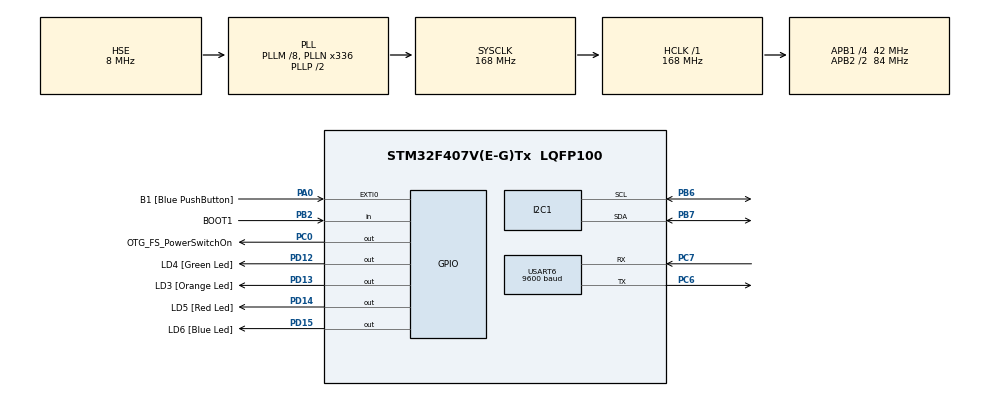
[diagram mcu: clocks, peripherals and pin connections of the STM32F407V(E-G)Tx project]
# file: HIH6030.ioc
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Mcu.Family=STM32F4
Mcu.Name=STM32F407V(E-G)Tx
Mcu.Package=LQFP100
NVIC.PriorityGroup=NVIC_PRIORITYGROUP_0
PA0-WKUP.GPIO_Label=B1 [Blue PushButton]
PA0-WKUP.GPIO_ModeDefaultEXTI=GPIO_MODE_EVT_RISING
PA0-WKUP.GPIO_PuPd=GPIO_NOPULL
PA0-WKUP.Signal=GPXTI0
PA13.GPIO_Label=SWDIO
PA13.Mode=Serial_Wire
PA13.Signal=SYS_JTMS-SWDIO
PA14.GPIO_Label=SWCLK
PA14.Mode=Serial_Wire
PA14.Signal=SYS_JTCK-SWCLK
PB2.GPIO_Label=BOOT1
PB2.GPIO_Mode=GPIO_MODE_INPUT
PB2.GPIO_PuPd=GPIO_NOPULL
PB2.Signal=GPIO_Input
PB6.Mode=I2C
PB6.Signal=I2C1_SCL
PB7.Mode=I2C
PB7.Signal=I2C1_SDA
PC0.GPIO_Label=OTG_FS_PowerSwitchOn
PC0.GPIO_PuPd=GPIO_NOPULL
PC0.GPIO_Speed=GPIO_SPEED_FREQ_LOW
PC0.Signal=GPIO_Output
PC14-OSC32_IN.GPIO_Label=PC14-OSC32_IN
PC14-OSC32_IN.Mode=LSE-External-Oscillator
PC14-OSC32_IN.Signal=RCC_OSC32_IN
PC15-OSC32_OUT.GPIO_Label=PC15-OSC32_OUT
PC15-OSC32_OUT.Mode=LSE-External-Oscillator
PC15-OSC32_OUT.Signal=RCC_OSC32_OUT
PC6.Mode=Asynchronous
PC6.Signal=USART6_TX
PC7.Mode=Asynchronous
PC7.Signal=USART6_RX
PD12.GPIO_Label=LD4 [Green Led]
PD12.GPIO_PuPd=GPIO_NOPULL
PD12.GPIO_Speed=GPIO_SPEED_FREQ_LOW
PD12.Signal=GPIO_Output
PD13.GPIO_Label=LD3 [Orange Led]
PD13.GPIO_PuPd=GPIO_NOPULL
PD13.GPIO_Speed=GPIO_SPEED_FREQ_LOW
PD13.Signal=GPIO_Output
PD14.GPIO_Label=LD5 [Red Led]
PD14.GPIO_PuPd=GPIO_NOPULL
PD14.GPIO_Speed=GPIO_SPEED_FREQ_LOW
PD14.Signal=GPIO_Output
PD15.GPIO_Label=LD6 [Blue Led]
PD15.GPIO_PuPd=GPIO_NOPULL
PD15.GPIO_Speed=GPIO_SPEED_FREQ_LOW
PD15.Signal=GPIO_Output
PH0-OSC_IN.GPIO_Label=PH0-OSC_IN
PH0-OSC_IN.Mode=HSE-External-Oscillator
PH0-OSC_IN.Signal=RCC_OSC_IN
PH1-OSC_OUT.GPIO_Label=PH1-OSC_OUT
PH1-OSC_OUT.Mode=HSE-External-Oscillator
PH1-OSC_OUT.Signal=RCC_OSC_OUT
ProjectManager.HeapSize=0x200
ProjectManager.StackSize=0x400
ProjectManager.TargetToolchain=MDK-ARM V5
RCC.48MHZClocksFreq_Value=48000000
RCC.AHBFreq_Value=168000000
RCC.APB1CLKDivider=RCC_HCLK_DIV4
RCC.APB1Freq_Value=42000000
RCC.APB1TimFreq_Value=84000000
RCC.APB2CLKDivider=RCC_HCLK_DIV2
RCC.APB2Freq_Value=84000000
RCC.APB2TimFreq_Value=168000000
RCC.CortexFreq_Value=168000000
RCC.HCLKFreq_Value=168000000
RCC.HSE_VALUE=8000000
RCC.HSI_VALUE=16000000
RCC.PLLM=8
RCC.PLLN=336
RCC.PLLQ=7
RCC.PLLSourceVirtual=RCC_PLLSOURCE_HSE
RCC.SYSCLKFreq_VALUE=168000000
RCC.SYSCLKSource=RCC_SYSCLKSOURCE_PLLCLK
RCC.VCOOutputFreq_Value=336000000
TIM1.Period=10000
TIM1.Prescaler=419
USART6.BaudRate=9600
VP_TIM1_VS_ClockSourceINT.Mode=Internal
board=STM32F4DISCOVERY

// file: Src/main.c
/**
  ******************************************************************************
  * File Name          : main.c
  * Description        : Main program body
  ******************************************************************************
  *
  * COPYRIGHT(c) 2016 STMicroelectronics
  *
  * Redistribution and use in source and binary forms, with or without modification,
  * are permitted provided that the following conditions are met:
  *   1. Redistributions of source code must retain the above copyright notice,
  *      this list of conditions and the following disclaimer.
  *   2. Redistributions in binary form must reproduce the above copyright notice,
  *      this list of conditions and the following disclaimer in the documentation
  *      and/or other materials provided with the distribution.
  *   3. Neither the name of STMicroelectronics nor the names of its contributors
  *      may be used to endorse or promote products derived from this software
  *      without specific prior written permission.
  *
  * THIS SOFTWARE IS PROVIDED BY THE COPYRIGHT HOLDERS AND CONTRIBUTORS "AS IS"
  * AND ANY EXPRESS OR IMPLIED WARRANTIES, INCLUDING, BUT NOT LIMITED TO, THE
  * IMPLIED WARRANTIES OF MERCHANTABILITY AND FITNESS FOR A PARTICULAR PURPOSE ARE
  * DISCLAIMED. IN NO EVENT SHALL THE COPYRIGHT HOLDER OR CONTRIBUTORS BE LIABLE
  * FOR ANY DIRECT, INDIRECT, INCIDENTAL, SPECIAL, EXEMPLARY, OR CONSEQUENTIAL
  * DAMAGES (INCLUDING, BUT NOT LIMITED TO, PROCUREMENT OF SUBSTITUTE GOODS OR
  * SERVICES; LOSS OF USE, DATA, OR PROFITS; OR BUSINESS INTERRUPTION) HOWEVER
  * CAUSED AND ON ANY THEORY OF LIABILITY, WHETHER IN CONTRACT, STRICT LIABILITY,
  * OR TORT (INCLUDING NEGLIGENCE OR OTHERWISE) ARISING IN ANY WAY OUT OF THE USE
  * OF THIS SOFTWARE, EVEN IF ADVISED OF THE POSSIBILITY OF SUCH DAMAGE.
  *
  ******************************************************************************
  */
#include "stm32f4xx_hal.h"

/* USER CODE BEGIN Includes */
#include <stdio.h>
#include <string.h>
/* USER CODE END Includes */

I2C_HandleTypeDef hi2c1;

TIM_HandleTypeDef htim1;

UART_HandleTypeDef huart6;

/* USER CODE BEGIN PV */
/* Private variables ---------------------------------------------------------*/

/* USER CODE END PV */

void SystemClock_Config(void);
void Error_Handler(void);
static void MX_GPIO_Init(void);
static void MX_I2C1_Init(void);
static void MX_TIM1_Init(void);
static void MX_USART6_UART_Init(void);

/* USER CODE BEGIN PFP */
/* Private function prototypes -----------------------------------------------*/

/* USER CODE END PFP */

/* USER CODE BEGIN 0 */
/*Defines for TIMER1*/
#define TIMER_1_ENABLE    TIM1->CR1 |=  1
#define TIMER_1_DISABLE	  TIM1->CR1 &= ~1
#define TIMER_1_PREGUNTA  TIM1->SR  &   1
#define TIMER_1_RESET	    TIM1->SR  &=  0xFFFE

/*I2C DEVICES*/
#define SENSOR_ADDRESS	((uint8_t)(0x27<<1))
#define SENSOR_MR

/*Pulsador*/
#define PULSADOR_H (GPIOA->IDR & 1)
#define PULSADOR_L ((GPIOA->IDR & 1) == 0)

/* USER CODE END 0 */
uint16_t bit_temperatura = 0;
uint16_t bit_humedad = 0;
float temperatura = 0;
float humedad = 0;

int main(void)
{

  /* USER CODE BEGIN 1 */
	char rise = 0;
	HAL_StatusTypeDef I2C_status_s;
	HAL_StatusTypeDef I2C_status_r;
	uint8_t i2c_rec[5];
	uint8_t buffer_uart[100];
	int ndata = 0;

  /* USER CODE END 1 */

  /* MCU Configuration----------------------------------------------------------*/

  /* Reset of all peripherals, Initializes the Flash interface and the Systick. */
  HAL_Init();

  /* Configure the system clock */
  SystemClock_Config();

  /* Initialize all configured peripherals */
  MX_GPIO_Init();
  MX_I2C1_Init();
  MX_TIM1_Init();
  MX_USART6_UART_Init();

  /* USER CODE BEGIN 2 */
	TIMER_1_ENABLE;
	USART6->DR = '\f';
  /* USER CODE END 2 */

  /* Infinite loop */
  while (1)
  {

  /* USER CODE BEGIN 3 */
	//Tick
		if(TIMER_1_PREGUNTA)
		{
			TIMER_1_RESET;
			if(PULSADOR_H && (rise==0)) // Pulsador Azul
  		{
				rise = 1;
				GPIOD->ODR &= ~0xE000;
				GPIOD->ODR ^=  0x1000;
				I2C_status_s = HAL_I2C_Master_Transmit(&hi2c1, SENSOR_ADDRESS, (uint8_t *)0x80, 0, 100);//Petición de lectura
				I2C_status_s = HAL_I2C_Master_Transmit(&hi2c1, SENSOR_ADDRESS, (uint8_t *)0x80, 0, 100);//Petición de lectura
				if(I2C_status_s == HAL_OK)
				{
					GPIOD->ODR |= 0x2000;
					HAL_Delay(50);
					I2C_status_r = HAL_I2C_Master_Receive(&hi2c1, SENSOR_ADDRESS, i2c_rec, 4, 100);//Lectura
					if(I2C_status_r == HAL_OK)
					{
						GPIOD->ODR |= 0x4000;
						bit_temperatura = (i2c_rec[2] << 6) | ((i2c_rec[3] & 0xFC)>>2);
						bit_humedad = ((i2c_rec[0] & 0x3F) << 8) | i2c_rec[1];

						temperatura = ((((float)(bit_temperatura ))/ 16383)*165) - 40;
						humedad = (((float)(bit_humedad)) / 16383)*100;
						ndata = sprintf((char*)buffer_uart,"Temperatura = %f °C\n\rHumedad = %f %%RH\n\ra: %u, b: %u, c: %u, d: %u\n\r\n\r", temperatura, humedad,i2c_rec[0],i2c_rec[1],i2c_rec[2],i2c_rec[3]);
						HAL_UART_Transmit(&huart6, buffer_uart, ndata, 1000);
						memset((char*)buffer_uart, 0, ndata);
						memset((char*)i2c_rec, 0, 5);
					}
				}
			}
			else if(PULSADOR_L)
			{
				rise = 0;
			}
		}
  }
  /* USER CODE END 3 */

}

/** System Clock Configuration
*/
void SystemClock_Config(void)
{

  RCC_OscInitTypeDef RCC_OscInitStruct;
  RCC_ClkInitTypeDef RCC_ClkInitStruct;

  __HAL_RCC_PWR_CLK_ENABLE();

  __HAL_PWR_VOLTAGESCALING_CONFIG(PWR_REGULATOR_VOLTAGE_SCALE1);

  RCC_OscInitStruct.OscillatorType = RCC_OSCILLATORTYPE_HSE;
  RCC_OscInitStruct.HSEState = RCC_HSE_ON;
  RCC_OscInitStruct.PLL.PLLState = RCC_PLL_ON;
  RCC_OscInitStruct.PLL.PLLSource = RCC_PLLSOURCE_HSE;
  RCC_OscInitStruct.PLL.PLLM = 8;
  RCC_OscInitStruct.PLL.PLLN = 336;
  RCC_OscInitStruct.PLL.PLLP = RCC_PLLP_DIV2;
  RCC_OscInitStruct.PLL.PLLQ = 7;
  if (HAL_RCC_OscConfig(&RCC_OscInitStruct) != HAL_OK)
  {
    Error_Handler();
  }

  RCC_ClkInitStruct.ClockType = RCC_CLOCKTYPE_HCLK|RCC_CLOCKTYPE_SYSCLK
                              |RCC_CLOCKTYPE_PCLK1|RCC_CLOCKTYPE_PCLK2;
  RCC_ClkInitStruct.SYSCLKSource = RCC_SYSCLKSOURCE_PLLCLK;
  RCC_ClkInitStruct.AHBCLKDivider = RCC_SYSCLK_DIV1;
  RCC_ClkInitStruct.APB1CLKDivider = RCC_HCLK_DIV4;
  RCC_ClkInitStruct.APB2CLKDivider = RCC_HCLK_DIV2;
  if (HAL_RCC_ClockConfig(&RCC_ClkInitStruct, FLASH_LATENCY_5) != HAL_OK)
  {
    Error_Handler();
  }

  HAL_SYSTICK_Config(HAL_RCC_GetHCLKFreq()/1000);

  HAL_SYSTICK_CLKSourceConfig(SYSTICK_CLKSOURCE_HCLK);

  /* SysTick_IRQn interrupt configuration */
  HAL_NVIC_SetPriority(SysTick_IRQn, 0, 0);
}

/* I2C1 init function */
static void MX_I2C1_Init(void)
{

  hi2c1.Instance = I2C1;
  hi2c1.Init.ClockSpeed = 100000;
  hi2c1.Init.DutyCycle = I2C_DUTYCYCLE_2;
  hi2c1.Init.OwnAddress1 = 0;
  hi2c1.Init.AddressingMode = I2C_ADDRESSINGMODE_7BIT;
  hi2c1.Init.DualAddressMode = I2C_DUALADDRESS_DISABLE;
  hi2c1.Init.OwnAddress2 = 0;
  hi2c1.Init.GeneralCallMode = I2C_GENERALCALL_DISABLE;
  hi2c1.Init.NoStretchMode = I2C_NOSTRETCH_DISABLE;
  if (HAL_I2C_Init(&hi2c1) != HAL_OK)
  {
    Error_Handler();
  }

}

/* TIM1 init function */
static void MX_TIM1_Init(void)
{

  TIM_ClockConfigTypeDef sClockSourceConfig;
  TIM_MasterConfigTypeDef sMasterConfig;

  htim1.Instance = TIM1;
  htim1.Init.Prescaler = 419;
  htim1.Init.CounterMode = TIM_COUNTERMODE_UP;
  htim1.Init.Period = 10000;
  htim1.Init.ClockDivision = TIM_CLOCKDIVISION_DIV1;
  htim1.Init.RepetitionCounter = 0;
  if (HAL_TIM_Base_Init(&htim1) != HAL_OK)
  {
    Error_Handler();
  }

  sClockSourceConfig.ClockSource = TIM_CLOCKSOURCE_INTERNAL;
  if (HAL_TIM_ConfigClockSource(&htim1, &sClockSourceConfig) != HAL_OK)
  {
    Error_Handler();
  }

  sMasterConfig.MasterOutputTrigger = TIM_TRGO_RESET;
  sMasterConfig.MasterSlaveMode = TIM_MASTERSLAVEMODE_DISABLE;
  if (HAL_TIMEx_MasterConfigSynchronization(&htim1, &sMasterConfig) != HAL_OK)
  {
    Error_Handler();
  }

}

/* USART6 init function */
static void MX_USART6_UART_Init(void)
{

  huart6.Instance = USART6;
  huart6.Init.BaudRate = 9600;
  huart6.Init.WordLength = UART_WORDLENGTH_8B;
  huart6.Init.StopBits = UART_STOPBITS_1;
  huart6.Init.Parity = UART_PARITY_NONE;
  huart6.Init.Mode = UART_MODE_TX_RX;
  huart6.Init.HwFlowCtl = UART_HWCONTROL_NONE;
  huart6.Init.OverSampling = UART_OVERSAMPLING_16;
  if (HAL_UART_Init(&huart6) != HAL_OK)
  {
    Error_Handler();
  }

}

/** Configure pins as
        * Analog
        * Input
        * Output
        * EVENT_OUT
        * EXTI
*/
static void MX_GPIO_Init(void)
{

  GPIO_InitTypeDef GPIO_InitStruct;

  /* GPIO Ports Clock Enable */
  __HAL_RCC_GPIOC_CLK_ENABLE();
  __HAL_RCC_GPIOH_CLK_ENABLE();
  __HAL_RCC_GPIOA_CLK_ENABLE();
  __HAL_RCC_GPIOB_CLK_ENABLE();
  __HAL_RCC_GPIOD_CLK_ENABLE();

  /*Configure GPIO pin Output Level */
  HAL_GPIO_WritePin(OTG_FS_PowerSwitchOn_GPIO_Port, OTG_FS_PowerSwitchOn_Pin, GPIO_PIN_RESET);

  /*Configure GPIO pin Output Level */
  HAL_GPIO_WritePin(GPIOD, LD4_Pin|LD3_Pin|LD5_Pin|LD6_Pin, GPIO_PIN_RESET);

  /*Configure GPIO pin : OTG_FS_PowerSwitchOn_Pin */
  GPIO_InitStruct.Pin = OTG_FS_PowerSwitchOn_Pin;
  GPIO_InitStruct.Mode = GPIO_MODE_OUTPUT_PP;
  GPIO_InitStruct.Pull = GPIO_NOPULL;
  GPIO_InitStruct.Speed = GPIO_SPEED_FREQ_LOW;
  HAL_GPIO_Init(OTG_FS_PowerSwitchOn_GPIO_Port, &GPIO_InitStruct);

  /*Configure GPIO pin : B1_Pin */
  GPIO_InitStruct.Pin = B1_Pin;
  GPIO_InitStruct.Mode = GPIO_MODE_EVT_RISING;
  GPIO_InitStruct.Pull = GPIO_NOPULL;
  HAL_GPIO_Init(B1_GPIO_Port, &GPIO_InitStruct);

  /*Configure GPIO pin : BOOT1_Pin */
  GPIO_InitStruct.Pin = BOOT1_Pin;
  GPIO_InitStruct.Mode = GPIO_MODE_INPUT;
  GPIO_InitStruct.Pull = GPIO_NOPULL;
  HAL_GPIO_Init(BOOT1_GPIO_Port, &GPIO_InitStruct);

  /*Configure GPIO pins : LD4_Pin LD3_Pin LD5_Pin LD6_Pin */
  GPIO_InitStruct.Pin = LD4_Pin|LD3_Pin|LD5_Pin|LD6_Pin;
  GPIO_InitStruct.Mode = GPIO_MODE_OUTPUT_PP;
  GPIO_InitStruct.Pull = GPIO_NOPULL;
  GPIO_InitStruct.Speed = GPIO_SPEED_FREQ_LOW;
  HAL_GPIO_Init(GPIOD, &GPIO_InitStruct);

}

void Error_Handler(void)
{
  while(1)
  {
  }
}

/************************ (C) COPYRIGHT STMicroelectronics *****END OF FILE****/
